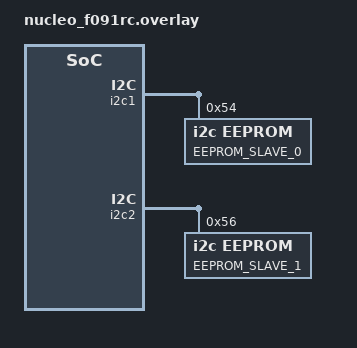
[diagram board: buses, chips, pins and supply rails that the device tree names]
/ {
	aliases {
		eeprom-slave-0 = &ep_0;
		eeprom-slave-1 = &ep_1;
	};
};

&i2c1 {
	ep_0: eeprom@54 {
		compatible = "i2c,eeprom";
		reg = <0x54>;
		label = "EEPROM_SLAVE_0";
		size = <1>;
	};
};


&i2c2 {
	ep_1: eeprom@56 {
		compatible = "i2c,eeprom";
		reg = <0x56>;
		label = "EEPROM_SLAVE_1";
		size = <1>;
	};
};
